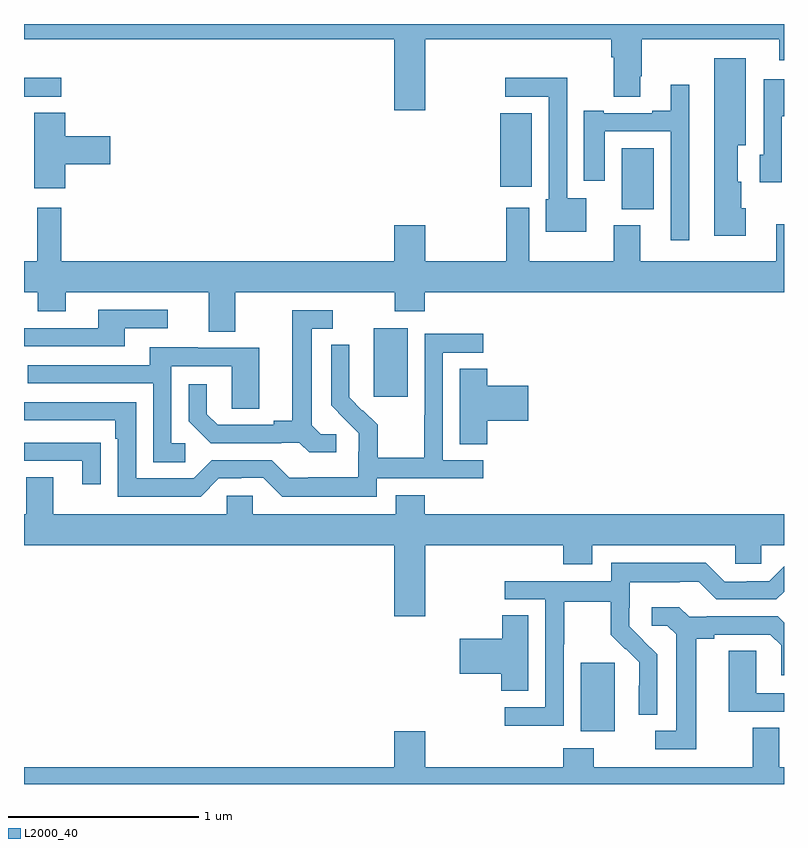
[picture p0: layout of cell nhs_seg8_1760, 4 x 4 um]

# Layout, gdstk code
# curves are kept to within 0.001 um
import gdstk
lib = gdstk.Library(unit=1e-6, precision=1e-09)
def R(c, l, rs):  # rectangles x0, y0, x1, y1
    for r in rs: c.add(gdstk.rectangle(r[:2], r[2:], *l))
def P(c, l, *ps):  # polygons
    for p in ps: c.add(gdstk.Polygon(p, *l))
L2000_40 = (2000, 40)

nhs_seg8_1760 = lib.new_cell('nhs_seg8_1760')
R(nhs_seg8_1760, L2000_40, [(225.929,1126.178,226.108,1126.539), (224.84,1127.937,225.019,1128.298), (226.145,1128.926,226.315,1129.246), (225.506,1129.043,225.673,1129.429), (223,1129.518,223.195,1129.616)])
P(nhs_seg8_1760, L2000_40, [(225.112,1129.82),(226.091,1129.82),(226.091,1129.724),(226.103,1129.724),(226.103,1129.516),(226.243,1129.516),(226.243,1129.624),(226.251,1129.624),(226.251,1129.82),(226.976,1129.82),(226.976,1129.71),(227,1129.71),(227,1129.9),(223,1129.9),(223,1129.82),(224.948,1129.82),(224.948,1129.446),(225.112,1129.446)],
  [(226.798,1128.93),(226.774,1128.93),(226.774,1129.071),(226.756,1129.071),(226.756,1129.262),(226.798,1129.262),(226.798,1129.72),(226.634,1129.72),(226.634,1128.786),(226.798,1128.786)],
  [(225.958,1128.982),(225.858,1128.982),(225.858,1129.616),(225.534,1129.616),(225.534,1129.518),(225.762,1129.518),(225.762,1128.978),(225.746,1128.978),(225.746,1128.806),(225.958,1128.806)],
  [(226.989,1129.415),(227,1129.415),(227,1129.608),(226.893,1129.608),(226.893,1129.212),(226.872,1129.212),(226.872,1129.068),(226.989,1129.068)],
  [(226.501,1129.579),(226.403,1129.579),(226.403,1129.444),(226.307,1129.444),(226.307,1129.431),(226.051,1129.431),(226.051,1129.444),(225.947,1129.444),(225.947,1129.074),(226.057,1129.074),(226.057,1129.335),(226.404,1129.335),(226.404,1128.762),(226.501,1128.762)],
  [(223.217,1129.163),(223.453,1129.163),(223.453,1129.31),(223.217,1129.31),(223.217,1129.433),(223.055,1129.433),(223.055,1129.035),(223.217,1129.035)],
  [(224.113,1128.488),(224.95,1128.488),(224.95,1128.389),(225.11,1128.389),(225.11,1128.488),(227,1128.488),(227,1128.847),(226.958,1128.847),(226.958,1128.652),(226.243,1128.652),(226.243,1128.841),(226.103,1128.841),(226.103,1128.652),(225.658,1128.652),(225.658,1128.934),(225.538,1128.934),(225.538,1128.652),(225.112,1128.652),(225.112,1128.841),(224.948,1128.841),(224.948,1128.652),(223.196,1128.652),(223.196,1128.934),(223.07,1128.934),(223.07,1128.652),(223,1128.652),(223,1128.488),(223.072,1128.488),(223.072,1128.389),(223.219,1128.389),(223.219,1128.488),(223.973,1128.488),(223.973,1128.28),(224.113,1128.28)],
  [(223.531,1128.3),(223.756,1128.3),(223.756,1128.396),(223.391,1128.396),(223.391,1128.3),(223,1128.3),(223,1128.204),(223.531,1128.204)],
  [(224.644,1127.742),(224.562,1127.742),(224.515,1127.789),(224.515,1128.297),(224.626,1128.297),(224.626,1128.393),(224.411,1128.393),(224.411,1127.813),(224.315,1127.813),(224.315,1127.79),(224.02,1127.79),(223.963,1127.847),(223.963,1128.004),(223.866,1128.004),(223.866,1127.81),(223.982,1127.694),(224.354,1127.694),(224.354,1127.697),(224.448,1127.697),(224.5,1127.645),(224.644,1127.645)],
  [(224.856,1127.508),(225.418,1127.508),(225.418,1127.604),(225.204,1127.604),(225.204,1128.171),(225.418,1128.171),(225.418,1128.27),(225.108,1128.27),(225.108,1127.84),(225.106,1127.84),(225.106,1127.617),(224.861,1127.617),(224.861,1127.791),(224.784,1127.868),(224.781,1127.865),(224.711,1127.936),(224.712,1128.212),(224.616,1128.212),(224.616,1127.894),(224.762,1127.746),(224.762,1127.649),(224.76,1127.649),(224.76,1127.515),(224.497,1127.515),(224.497,1127.511),(224.397,1127.511),(224.304,1127.604),(223.989,1127.604),(223.893,1127.508),(223.59,1127.508),(223.59,1127.91),(223,1127.91),(223,1127.814),(223.481,1127.814),(223.481,1127.717),(223.494,1127.717),(223.494,1127.412),(223.929,1127.412),(224.025,1127.508),(224.144,1127.508),(224.144,1127.511),(224.259,1127.511),(224.359,1127.411),(224.856,1127.411)],
  [(223.849,1127.694),(223.776,1127.694),(223.776,1128.099),(224.094,1128.099),(224.094,1127.875),(224.239,1127.875),(224.239,1128.195),(223.915,1128.195),(223.915,1128.199),(223.661,1128.199),(223.661,1128.105),(223.021,1128.105),(223.021,1128.009),(223.68,1128.009),(223.68,1127.593),(223.849,1127.593)],
  [(225.437,1127.813),(225.655,1127.813),(225.655,1127.996),(225.437,1127.996),(225.437,1128.086),(225.293,1128.086),(225.293,1127.689),(225.437,1127.689)],
  [(223.403,1127.696),(223.301,1127.696),(223.301,1127.697),(223,1127.697),(223,1127.601),(223.307,1127.601),(223.307,1127.478),(223.403,1127.478)],
  [(225.112,1127.156),(225.839,1127.156),(225.839,1127.057),(225.991,1127.057),(225.991,1127.156),(226.743,1127.156),(226.743,1127.058),(226.881,1127.058),(226.881,1127.156),(227,1127.156),(227,1127.32),(225.11,1127.32),(225.11,1127.419),(224.957,1127.419),(224.957,1127.32),(224.205,1127.32),(224.205,1127.418),(224.067,1127.418),(224.067,1127.32),(223.153,1127.32),(223.153,1127.515),(223.013,1127.515),(223.013,1127.32),(223,1127.32),(223,1127.156),(224.948,1127.156),(224.948,1126.782),(225.112,1126.782)],
  [(225.84,1126.636),(225.843,1126.636),(225.843,1126.86),(226.087,1126.86),(226.087,1126.685),(226.164,1126.608),(226.167,1126.611),(226.238,1126.541),(226.238,1126.418),(226.236,1126.418),(226.236,1126.264),(226.332,1126.264),(226.332,1126.582),(226.186,1126.73),(226.186,1126.827),(226.188,1126.827),(226.188,1126.961),(226.451,1126.961),(226.451,1126.965),(226.551,1126.965),(226.644,1126.872),(226.959,1126.872),(227,1126.913),(227,1127.045),(226.923,1126.968),(226.805,1126.968),(226.805,1126.965),(226.689,1126.965),(226.589,1127.065),(226.092,1127.065),(226.092,1126.968),(225.531,1126.968),(225.531,1126.872),(225.744,1126.872),(225.744,1126.305),(225.531,1126.305),(225.531,1126.207),(225.84,1126.207)],
  [(226.537,1126.664),(226.633,1126.664),(226.633,1126.686),(226.928,1126.686),(226.985,1126.629),(226.985,1126.473),(227,1126.473),(227,1126.748),(226.966,1126.782),(226.594,1126.782),(226.594,1126.779),(226.5,1126.779),(226.448,1126.831),(226.305,1126.831),(226.305,1126.734),(226.386,1126.734),(226.433,1126.687),(226.433,1126.179),(226.323,1126.179),(226.323,1126.083),(226.537,1126.083)],
  [(225.655,1126.787),(225.517,1126.787),(225.517,1126.664),(225.294,1126.664),(225.294,1126.481),(225.512,1126.481),(225.512,1126.39),(225.655,1126.39)],
  [(227,1126.377),(226.854,1126.377),(226.854,1126.601),(226.709,1126.601),(226.709,1126.281),(227,1126.281)],
  [(227,1125.988),(226.975,1125.988),(226.975,1126.196),(226.835,1126.196),(226.835,1125.988),(225.999,1125.988),(225.999,1126.087),(225.839,1126.087),(225.839,1125.988),(225.112,1125.988),(225.112,1126.177),(224.948,1126.177),(224.948,1125.988),(223,1125.988),(223,1125.9),(227,1125.9)])

lib.write_gds('nhs_seg8_1760.gds')
